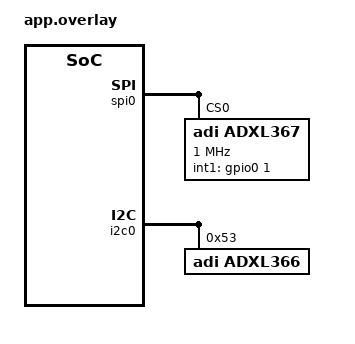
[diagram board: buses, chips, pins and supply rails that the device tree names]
/*
 * Copyright The Zephyr Project Contributors
 *
 * SPDX-License-Identifier: Apache-2.0
 */

#include <zephyr/dt-bindings/gpio/gpio.h>
#include <zephyr/dt-bindings/sensor/adxl367.h>

&spi0 {
	adxl367: adxl367@0 {
		compatible = "adi,adxl367";
		reg = <0>;
		spi-max-frequency = <1000000>;
		int1-gpios = <&gpio0 1 GPIO_ACTIVE_HIGH>;
		fifo-mode = <ADXL367_FIFO_MODE_STREAM>;
	};
};

&i2c0 {
	adxl366: adxl366@53 {
		compatible = "adi,adxl366";
		reg = <0x53>;
	};
};
